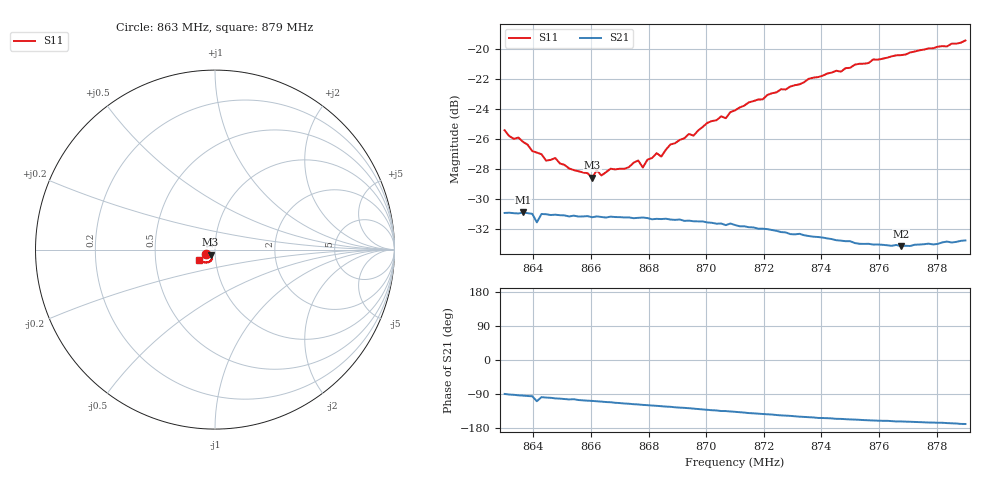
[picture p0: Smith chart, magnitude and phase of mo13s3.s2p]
# HZ S RI R 50
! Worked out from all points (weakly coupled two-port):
!   101 points, 863 MHz to 879 MHz, reference 50 ohm
!   highest |S21| = -30.87 dB at 863.64 MHz (marker M1); lowest = -33.1 dB at 876.76 MHz (marker M2)
!   lowest |S11| = -28.6 dB at 866.04 MHz (marker M3), VSWR 1.08, Z = 47.5 - j2.68 ohm
!   |S11| at or under -10 dB: start of sweep to end of sweep
!   S12 and S22 are empty: the file has one direction only
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8.63e8  -0.0474 -0.0251  0.000232 -0.0285  0 0  0 0
8.6364e8  -0.0422 -0.0252  -0.00199 -0.0285  0 0  0 0
8.6396e8  -0.0388 -0.0243  -0.00281 -0.0282  0 0  0 0
8.6412e8  -0.0377 -0.0251  -0.00855 -0.0251  0 0  0 0
8.6428e8  -0.0365 -0.0258  -0.00393 -0.028  0 0  0 0
8.6444e8  -0.0353 -0.0237  -0.00448 -0.0279  0 0  0 0
8.6476e8  -0.0349 -0.0258  -0.00549 -0.0276  0 0  0 0
8.6572e8  -0.0269 -0.0281  -0.00786 -0.0266  0 0  0 0
8.6604e8  -0.0245 -0.0281  -0.00849 -0.0262  0 0  0 0
8.662e8  -0.0263 -0.0295  -0.009 -0.0263  0 0  0 0
8.6636e8  -0.0246 -0.0289  -0.00938 -0.026  0 0  0 0
8.6764e8  -0.0192 -0.038  -0.0126 -0.0244  0 0  0 0
8.678e8  -0.0174 -0.0365  -0.0131 -0.0242  0 0  0 0
8.6828e8  -0.0169 -0.0418  -0.014 -0.0234  0 0  0 0
8.6844e8  -0.0165 -0.0407  -0.0144 -0.0231  0 0  0 0
8.6876e8  -0.0169 -0.0451  -0.015 -0.0226  0 0  0 0
8.6956e8  -0.0167 -0.0487  -0.0166 -0.021  0 0  0 0
8.71e8  -0.0213 -0.0588  -0.0189 -0.0178  0 0  0 0
8.7372e8  -0.0368 -0.0713  -0.0209 -0.0113  0 0  0 0
8.7644e8  -0.0638 -0.0697  -0.021 -0.00711  0 0  0 0
8.7676e8  -0.0671 -0.0678  -0.021 -0.00679  0 0  0 0
8.79e8  -0.0902 -0.0571  -0.0227 -0.00446  0 0  0 0
